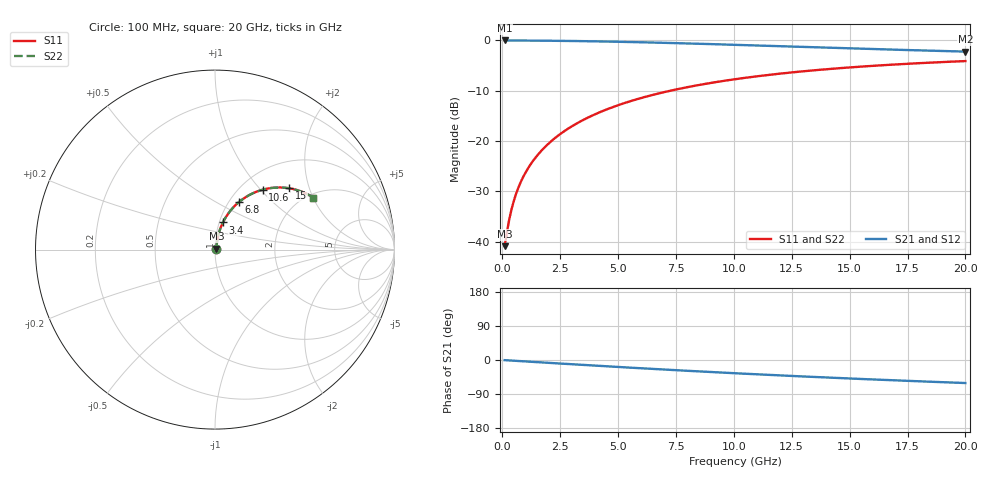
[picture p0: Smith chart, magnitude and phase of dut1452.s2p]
! Touchstone file exported from HFSS 2026.1.0
!  File:  C:/ffzhzh/LocalFiles/Ansys_Project_Files/temp_train_TMRDL_1452_1783167209_22436.aedt
!  Generated:  08:15:00 PM Jul  4, 2026
!  Design:  TMRDL
!  Project:  temp_train_TMRDL_1452_1783167209_22436
! Variables:
!  h_bsmrdl = 2um
!  h_ox = 20um
!  h_rdl = 5um
!  h_sub = 80um
!  h_tmrdl = 3.02um
!  h_tsv = 80um
!  h_via = 3um
!  l_bsmrdl = 300um
!  l_sub = 1282.69um
!  l_tmrdl = 882.69um
!  m_sub = 200um
!  pitch = 51.9um
!  r_tsv = 6um
!  s_tmrdl = 10um
!  w_bsmrdl = 18um
!  w_sub = 500um
!  w_tmrdl = 13.6um
!  x_tsv_center1 = 889.49um
!  x_tsv_center2 = 1207.49um
!  x_tsv_center3 = 2103.78um
!  x_tsv_center4 = 2421.78um
!  x_tsv_center5 = 3318.07um
!  x_tsv_center6 = 3636.07um
# GHz S MA R 50.000000
! Terminal data exported
! Port[1] = TM_RDL1_1_T1
! Port[2] = TM_RDL1_1_T2
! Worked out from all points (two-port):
!   200 points, 100 MHz to 20 GHz, reference 50 ohm
!   highest |S21| = -0.07 dB at 100 MHz (marker M1); lowest = -2.3 dB at 20 GHz (marker M2)
!   |S21| within 3 dB of the highest: start of sweep to end of sweep
!   lowest |S11| = -40.9 dB at 100 MHz (marker M3), VSWR 1.02, Z = 50.8 + j0.496 ohm
!   |S11| at or under -10 dB: start of sweep to 7.289 GHz
!   |S22| runs from -40.9 to -4.2 dB; largest |S21 - S12| = 6.1e-15
!   S11 on the Smith chart (normalised r, x): 100 MHz: 1.02, +0.01; 3.4 GHz: 1.04, +0.32; 6.8 GHz: 1.11, +0.65; 10.6 GHz: 1.26, +1.02; 15 GHz: 1.54, +1.48; 20 GHz: 2.13, +2.01
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0.1  0.009059 32.7  0.9924 -0.4  0.9924 -0.4  0.009059 32.7
! Gamma 0 0 0 0
! Port Impedance 50 0 50 0
0.2  0.0125 51.2  0.9923 -0.8  0.9923 -0.8  0.0125 51.2
0.3  0.01666 60.8  0.9921 -1.2  0.9921 -1.2  0.01666 60.8
0.4  0.02108 66.2  0.9918 -1.5  0.9918 -1.5  0.02108 66.2
0.5  0.0256 69.5  0.9916 -1.9  0.9916 -1.9  0.0256 69.5
0.6  0.03015 71.7  0.9913 -2.3  0.9913 -2.3  0.03015 71.7
0.8  0.03929 74.4  0.9907 -3.0  0.9907 -3.0  0.03929 74.4
1.1  0.05304 76.3  0.9898 -4.2  0.9898 -4.2  0.05304 76.3
1.5  0.07141 77.1  0.9885 -5.6  0.9885 -5.6  0.07141 77.1
2  0.09432 76.9  0.9863 -7.5  0.9863 -7.5  0.09432 76.9
2.6  0.1216 75.8  0.9831 -9.7  0.9831 -9.7  0.1216 75.8
3.4  0.1574 73.7  0.9776 -12.6  0.9776 -12.6  0.1574 73.7
3.5  0.1618 73.5  0.9769 -13.0  0.9769 -13.0  0.1618 73.5
5  0.2262 68.9  0.9633 -18.4  0.9633 -18.4  0.2262 68.9
6.8  0.2979 63.2  0.9426 -24.5  0.9426 -24.5  0.2979 63.1
8.3  0.3524 58.4  0.923 -29.5  0.923 -29.5  0.3524 58.4
10.1  0.4112 53.0  0.8978 -35.1  0.8978 -35.1  0.4112 53.0
10.6  0.4262 51.5  0.8906 -36.6  0.8906 -36.6  0.4262 51.5
13.4  0.5006 43.8  0.8507 -44.6  0.8507 -44.6  0.5006 43.7
15  0.5361 39.6  0.8288 -48.8  0.8288 -48.8  0.5362 39.6
16.7  0.5689 35.4  0.8069 -53.1  0.8069 -53.1  0.5689 35.4
20  0.6197 27.9  0.7694 -60.8  0.7694 -60.8  0.6197 27.8
